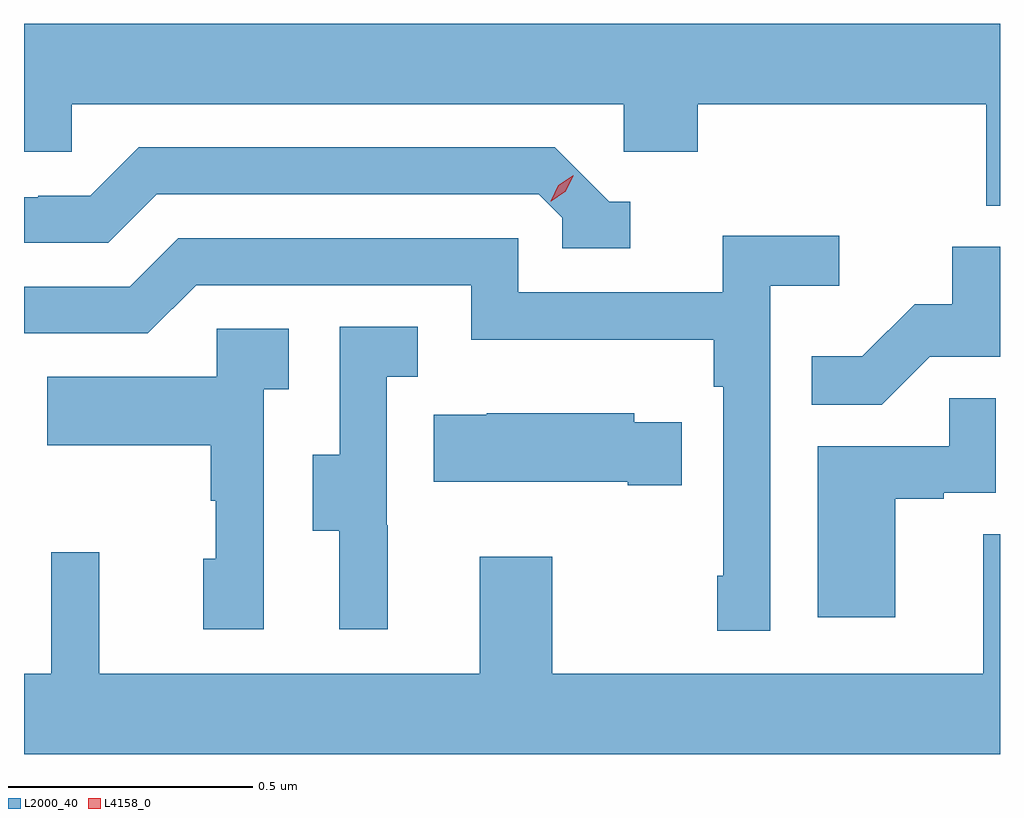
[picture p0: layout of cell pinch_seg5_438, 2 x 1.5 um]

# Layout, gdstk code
import gdstk
lib = gdstk.Library(unit=1e-6, precision=1e-09)
def P(c, l, *ps):  # polygons
    for p in ps: c.add(gdstk.Polygon(p, *l))
L2000_40 = (2000, 40)
L4158_0 = (4158, 0)

pinch_seg5_438 = lib.new_cell('pinch_seg5_438')
P(pinch_seg5_438, L2000_40, [(888.549,868.912),(886.549,868.912),(886.549,868.65),(886.647,868.65),(886.647,868.748),(887.778,868.748),(887.778,868.65),(887.93,868.65),(887.93,868.748),(888.521,868.748),(888.521,868.54),(888.549,868.54)],
  [(887.791,868.548),(887.748,868.548),(887.637,868.659),(886.784,868.659),(886.685,868.56),(886.578,868.56),(886.578,868.557),(886.549,868.557),(886.549,868.464),(886.722,868.464),(886.821,868.563),(887.604,868.563),(887.652,868.515),(887.652,868.452),(887.791,868.452)],
  [(888.078,868.376),(888.22,868.376),(888.22,868.478),(887.981,868.478),(887.981,868.362),(887.562,868.362),(887.562,868.473),(886.865,868.473),(886.766,868.374),(886.549,868.374),(886.549,868.278),(886.803,868.278),(886.902,868.377),(887.466,868.377),(887.466,868.265),(887.962,868.265),(887.962,868.169),(887.982,868.169),(887.982,867.781),(887.97,867.781),(887.97,867.669),(888.078,867.669)],
  [(888.405,868.23),(888.549,868.23),(888.549,868.455),(888.451,868.455),(888.451,868.338),(888.374,868.338),(888.267,868.231),(888.163,868.231),(888.163,868.132),(888.307,868.132)],
  [(887.294,867.885),(887.292,867.885),(887.292,868.189),(887.356,868.189),(887.356,868.292),(887.196,868.292),(887.196,868.029),(887.141,868.029),(887.141,867.874),(887.195,867.874),(887.195,867.672),(887.294,867.672)],
  [(887.04,868.163),(887.092,868.163),(887.092,868.287),(886.944,868.287),(886.944,868.189),(886.597,868.189),(886.597,868.049),(886.932,868.049),(886.932,867.935),(886.942,867.935),(886.942,867.816),(886.916,867.816),(886.916,867.672),(887.04,867.672)],
  [(888.334,867.939),(888.434,867.939),(888.434,867.951),(888.54,867.951),(888.54,868.145),(888.445,868.145),(888.445,868.047),(888.176,868.047),(888.176,867.696),(888.334,867.696)],
  [(887.897,868.096),(887.799,868.096),(887.799,868.114),(887.497,868.114),(887.497,868.111),(887.389,868.111),(887.389,867.974),(887.786,867.974),(887.786,867.967),(887.897,867.967)],
  [(888.549,867.866),(888.515,867.866),(888.515,867.58),(887.631,867.58),(887.631,867.82),(887.483,867.82),(887.483,867.58),(886.703,867.58),(886.703,867.829),(886.605,867.829),(886.605,867.58),(886.549,867.58),(886.549,867.416),(888.549,867.416)])
P(pinch_seg5_438, L4158_0, [(887.628,868.549),(887.628,868.549),(887.644,868.582),(887.674,868.602),(887.674,868.602),(887.674,868.601),(887.659,868.569),(887.629,868.549)])

lib.write_gds('pinch_seg5_438.gds')
